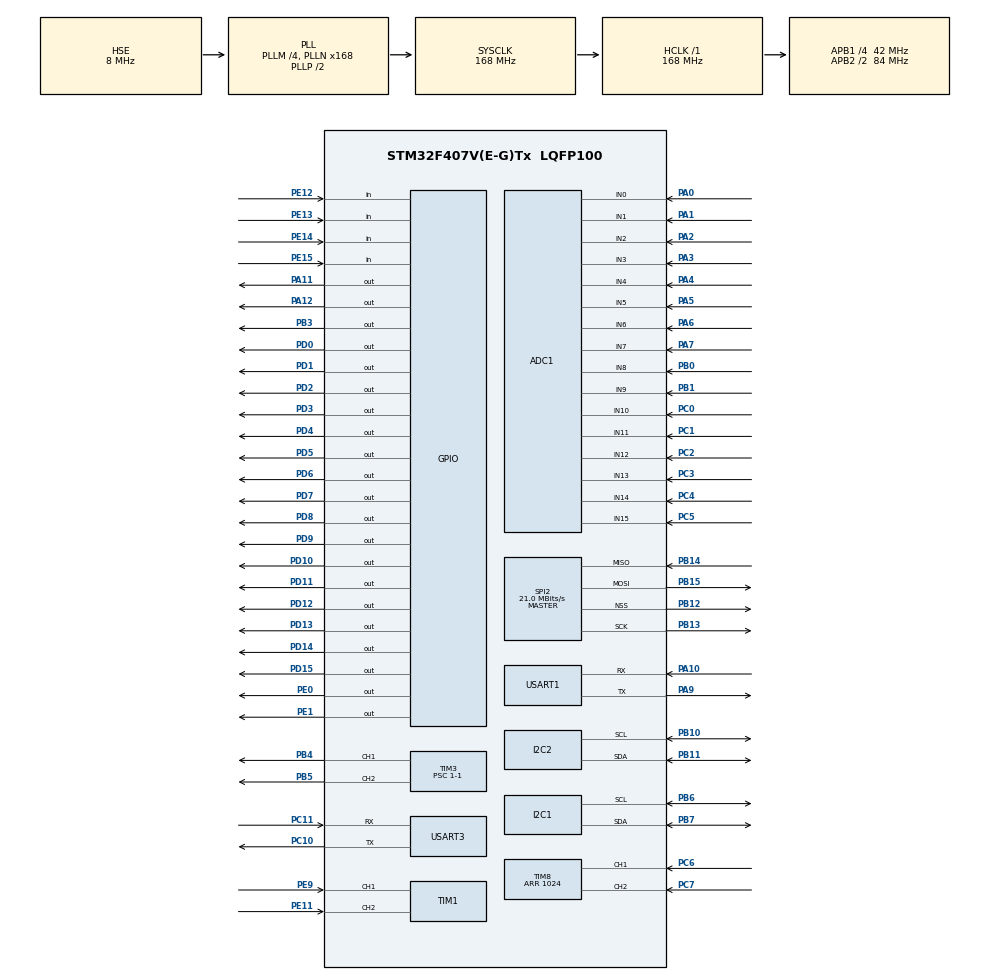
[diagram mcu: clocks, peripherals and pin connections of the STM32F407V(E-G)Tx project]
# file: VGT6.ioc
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ADC1.Channel-0\#ChannelRegularConversion=ADC_CHANNEL_0
ADC1.NbrOfConversionFlag=1
ADC1.Rank-0\#ChannelRegularConversion=1
ADC1.SamplingTime-0\#ChannelRegularConversion=ADC_SAMPLETIME_3CYCLES
ADC1.master=1
Mcu.Family=STM32F4
Mcu.Name=STM32F407V(E-G)Tx
Mcu.Package=LQFP100
NVIC.PriorityGroup=NVIC_PRIORITYGROUP_4
NVIC.TIM6_DAC_IRQn=true\:0\:0\:false\:false\:true\:true
NVIC.TIM7_IRQn=true\:0\:0\:false\:false\:true\:true
PA0-WKUP.Signal=ADCx_IN0
PA1.Signal=ADCx_IN1
PA10.Mode=Asynchronous
PA10.Signal=USART1_RX
PA11.Signal=GPIO_Output
PA12.Signal=GPIO_Output
PA2.Signal=ADCx_IN2
PA3.Signal=ADCx_IN3
PA4.Signal=ADCx_IN4
PA5.Signal=ADCx_IN5
PA6.Signal=ADCx_IN6
PA7.Signal=ADCx_IN7
PA9.Mode=Asynchronous
PA9.Signal=USART1_TX
PB0.Signal=ADCx_IN8
PB1.Signal=ADCx_IN9
PB10.Mode=I2C
PB10.Signal=I2C2_SCL
PB11.Mode=I2C
PB11.Signal=I2C2_SDA
PB12.Mode=NSS_Signal_Hard_Output
PB12.Signal=SPI2_NSS
PB13.Mode=Full_Duplex_Master
PB13.Signal=SPI2_SCK
PB14.Mode=Full_Duplex_Master
PB14.Signal=SPI2_MISO
PB15.Mode=Full_Duplex_Master
PB15.Signal=SPI2_MOSI
PB3.Signal=GPIO_Output
PB4.Signal=S_TIM3_CH1
PB5.Signal=S_TIM3_CH2
PB6.Mode=I2C
PB6.Signal=I2C1_SCL
PB7.Mode=I2C
PB7.Signal=I2C1_SDA
PC0.Signal=ADCx_IN10
PC1.Signal=ADCx_IN11
PC10.Mode=Asynchronous
PC10.Signal=USART3_TX
PC11.Mode=Asynchronous
PC11.Signal=USART3_RX
PC2.Signal=ADCx_IN12
PC3.Signal=ADCx_IN13
PC4.Signal=ADCx_IN14
PC5.Signal=ADCx_IN15
PC6.GPIO_PuPd=GPIO_NOPULL
PC6.GPIO_Speed=GPIO_SPEED_FREQ_LOW
PC6.Signal=S_TIM8_CH1
PC7.GPIO_PuPd=GPIO_NOPULL
PC7.GPIO_Speed=GPIO_SPEED_FREQ_LOW
PC7.Signal=S_TIM8_CH2
PD0.GPIO_PuPd=GPIO_NOPULL
PD0.GPIO_Speed=GPIO_SPEED_FREQ_VERY_HIGH
PD0.PinState=GPIO_PIN_SET
PD0.Signal=GPIO_Output
PD1.Signal=GPIO_Output
PD10.Signal=GPIO_Output
PD11.Signal=GPIO_Output
PD12.Signal=GPIO_Output
PD13.Signal=GPIO_Output
PD14.Signal=GPIO_Output
PD15.Signal=GPIO_Output
PD2.Signal=GPIO_Output
PD3.Signal=GPIO_Output
PD4.Signal=GPIO_Output
PD5.Signal=GPIO_Output
PD6.Signal=GPIO_Output
PD7.Signal=GPIO_Output
PD8.Signal=GPIO_Output
PD9.Signal=GPIO_Output
PE0.GPIO_Speed=GPIO_SPEED_FREQ_VERY_HIGH
PE0.PinState=GPIO_PIN_SET
PE0.Signal=GPIO_Output
PE1.GPIO_Speed=GPIO_SPEED_FREQ_VERY_HIGH
PE1.PinState=GPIO_PIN_SET
PE1.Signal=GPIO_Output
PE11.Signal=S_TIM1_CH2
PE12.Signal=GPIO_Input
PE13.Signal=GPIO_Input
PE14.Signal=GPIO_Input
PE15.Signal=GPIO_Input
PE9.Signal=S_TIM1_CH1
PH0-OSC_IN.Mode=HSE-External-Oscillator
PH0-OSC_IN.Signal=RCC_OSC_IN
PH1-OSC_OUT.Mode=HSE-External-Oscillator
PH1-OSC_OUT.Signal=RCC_OSC_OUT
ProjectManager.HeapSize=0x200
ProjectManager.StackSize=0x400
ProjectManager.TargetToolchain=TrueSTUDIO
RCC.48MHZClocksFreq_Value=84000000
RCC.AHBFreq_Value=168000000
RCC.APB1CLKDivider=RCC_HCLK_DIV4
RCC.APB1Freq_Value=42000000
RCC.APB1TimFreq_Value=84000000
RCC.APB2CLKDivider=RCC_HCLK_DIV2
RCC.APB2Freq_Value=84000000
RCC.APB2TimFreq_Value=168000000
RCC.CortexFreq_Value=168000000
RCC.HCLKFreq_Value=168000000
RCC.HSE_VALUE=8000000
RCC.HSI_VALUE=16000000
RCC.LSE_VALUE=32768
RCC.PLLM=4
RCC.PLLN=168
RCC.PLLSourceVirtual=RCC_PLLSOURCE_HSE
RCC.SYSCLKFreq_VALUE=168000000
RCC.SYSCLKSource=RCC_SYSCLKSOURCE_PLLCLK
RCC.VCOOutputFreq_Value=336000000
SH.ADCx_IN0.0=ADC1_IN0,IN0
SH.ADCx_IN1.0=ADC1_IN1,IN1
SH.ADCx_IN10.0=ADC1_IN10,IN10
SH.ADCx_IN11.0=ADC1_IN11,IN11
SH.ADCx_IN12.0=ADC1_IN12,IN12
SH.ADCx_IN13.0=ADC1_IN13,IN13
SH.ADCx_IN14.0=ADC1_IN14,IN14
SH.ADCx_IN15.0=ADC1_IN15,IN15
SH.ADCx_IN2.0=ADC1_IN2,IN2
SH.ADCx_IN3.0=ADC1_IN3,IN3
SH.ADCx_IN4.0=ADC1_IN4,IN4
SH.ADCx_IN5.0=ADC1_IN5,IN5
SH.ADCx_IN6.0=ADC1_IN6,IN6
SH.ADCx_IN7.0=ADC1_IN7,IN7
SH.ADCx_IN8.0=ADC1_IN8,IN8
SH.ADCx_IN9.0=ADC1_IN9,IN9
SH.S_TIM1_CH1.0=TIM1_CH1,Encoder_Interface
SH.S_TIM1_CH2.0=TIM1_CH2,Encoder_Interface
SH.S_TIM3_CH1.0=TIM3_CH1,PWM Generation1 CH1
SH.S_TIM3_CH2.0=TIM3_CH2,PWM Generation2 CH2
SH.S_TIM8_CH1.0=TIM8_CH1,Encoder_Interface
SH.S_TIM8_CH2.0=TIM8_CH2,Encoder_Interface
SPI2.CalculateBaudRate=21.0 MBits/s
SPI2.Direction=SPI_DIRECTION_2LINES
SPI2.Mode=SPI_MODE_MASTER
SPI2.VirtualNSS=VM_NSSHARD
SPI2.VirtualType=VM_MASTER
TIM3.Channel-PWM\ Generation1\ CH1=TIM_CHANNEL_1
TIM3.Channel-PWM\ Generation2\ CH2=TIM_CHANNEL_2
TIM3.Period=8400-1
TIM3.Prescaler=1-1
TIM3.Pulse-PWM\ Generation1\ CH1=4200-1
TIM3.Pulse-PWM\ Generation2\ CH2=6300-1
TIM6.Period=50-1
TIM6.Prescaler=42-1
TIM7.Period=1000-1
TIM7.Prescaler=42-1
TIM8.Period=1024
USART1.VirtualMode=VM_ASYNC
USART3.VirtualMode=VM_ASYNC
VP_TIM3_VS_ClockSourceINT.Mode=Internal
VP_TIM6_VS_ClockSourceINT.Mode=Enable_Timer
VP_TIM7_VS_ClockSourceINT.Mode=Enable_Timer
board=custom

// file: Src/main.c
/* USER CODE BEGIN Header */
/**
  ******************************************************************************
  * @file           : main.c
  * @brief          : Main program body
  ******************************************************************************
  ** This notice applies to any and all portions of this file
  * that are not between comment pairs USER CODE BEGIN and
  * USER CODE END. Other portions of this file, whether
  * inserted by the user or by software development tools
  * are owned by their respective copyright owners.
  *
  * COPYRIGHT(c) 2020 STMicroelectronics
  *
  * Redistribution and use in source and binary forms, with or without modification,
  * are permitted provided that the following conditions are met:
  *   1. Redistributions of source code must retain the above copyright notice,
  *      this list of conditions and the following disclaimer.
  *   2. Redistributions in binary form must reproduce the above copyright notice,
  *      this list of conditions and the following disclaimer in the documentation
  *      and/or other materials provided with the distribution.
  *   3. Neither the name of STMicroelectronics nor the names of its contributors
  *      may be used to endorse or promote products derived from this software
  *      without specific prior written permission.
  *
  * THIS SOFTWARE IS PROVIDED BY THE COPYRIGHT HOLDERS AND CONTRIBUTORS "AS IS"
  * AND ANY EXPRESS OR IMPLIED WARRANTIES, INCLUDING, BUT NOT LIMITED TO, THE
  * IMPLIED WARRANTIES OF MERCHANTABILITY AND FITNESS FOR A PARTICULAR PURPOSE ARE
  * DISCLAIMED. IN NO EVENT SHALL THE COPYRIGHT HOLDER OR CONTRIBUTORS BE LIABLE
  * FOR ANY DIRECT, INDIRECT, INCIDENTAL, SPECIAL, EXEMPLARY, OR CONSEQUENTIAL
  * DAMAGES (INCLUDING, BUT NOT LIMITED TO, PROCUREMENT OF SUBSTITUTE GOODS OR
  * SERVICES; LOSS OF USE, DATA, OR PROFITS; OR BUSINESS INTERRUPTION) HOWEVER
  * CAUSED AND ON ANY THEORY OF LIABILITY, WHETHER IN CONTRACT, STRICT LIABILITY,
  * OR TORT (INCLUDING NEGLIGENCE OR OTHERWISE) ARISING IN ANY WAY OUT OF THE USE
  * OF THIS SOFTWARE, EVEN IF ADVISED OF THE POSSIBILITY OF SUCH DAMAGE.
  *
  ******************************************************************************
  */
/* USER CODE END Header */
#include "main.h"
#include "adc.h"
#include "i2c.h"
#include "spi.h"
#include "tim.h"
#include "usart.h"
#include "gpio.h"

/* USER CODE BEGIN Includes */
#include "motor.h"

/* USER CODE END Includes */

/* USER CODE BEGIN PTD */
uint8_t rx4_data,
      rx3_data,
      rx2_data;
int8_t int8_tim7flag=1;
/* USER CODE END PTD */

void SystemClock_Config(void);
/* USER CODE BEGIN PFP */
int _write(int file, char* p,int len)
{
   HAL_UART_Transmit(&huart3,p,len,10);
   return len;
}
/* USER CODE END PFP */

int main(void)
{

  /* MCU Configuration--------------------------------------------------------*/

  /* Reset of all peripherals, Initializes the Flash interface and the Systick. */
  HAL_Init();

  /* Configure the system clock */
  SystemClock_Config();

  /* Initialize all configured peripherals */
  MX_GPIO_Init();
  MX_TIM3_Init();
  MX_ADC1_Init();
  MX_USART1_UART_Init();
  MX_I2C1_Init();
  MX_TIM7_Init();
  MX_TIM6_Init();
  MX_TIM8_Init();
  MX_USART3_UART_Init();
  MX_SPI2_Init();
  MX_I2C2_Init();
  MX_TIM1_Init();
  /* USER CODE BEGIN 2 */

  HAL_UART_Receive_IT(&huart3, &rx3_data,1);

  g_int32_sen_cnt = 0;
  HAL_TIM_PWM_Start(&htim3, TIM_CHANNEL_1);
  HAL_TIM_PWM_Start(&htim3, TIM_CHANNEL_2);
  HAL_TIM_Encoder_Start(&htim8,TIM_CHANNEL_1);
  //HAL_TIM_Base_Start_IT(&htim6);
  HAL_TIM_Base_Start_IT(&htim7);
  /* USER CODE END 2 */

  /* Infinite loop */
  /* USER CODE BEGIN WHILE */
  while (1)
  {
     HAL_UART_Receive_IT(&huart3, &rx3_data,1);
     printf("enc : %4d\n\r",R_Motor.U16Qep_Sample);
    // printf("%f",SEN0);
    /* USER CODE END WHILE */

  }
}

void SystemClock_Config(void)
{
  RCC_OscInitTypeDef RCC_OscInitStruct = {0};
  RCC_ClkInitTypeDef RCC_ClkInitStruct = {0};

  /** Configure the main internal regulator output voltage
  */
  __HAL_RCC_PWR_CLK_ENABLE();
  __HAL_PWR_VOLTAGESCALING_CONFIG(PWR_REGULATOR_VOLTAGE_SCALE1);
  /** Initializes the RCC Oscillators according to the specified parameters
  * in the RCC_OscInitTypeDef structure.
  */
  RCC_OscInitStruct.OscillatorType = RCC_OSCILLATORTYPE_HSE;
  RCC_OscInitStruct.HSEState = RCC_HSE_ON;
  RCC_OscInitStruct.PLL.PLLState = RCC_PLL_ON;
  RCC_OscInitStruct.PLL.PLLSource = RCC_PLLSOURCE_HSE;
  RCC_OscInitStruct.PLL.PLLM = 4;
  RCC_OscInitStruct.PLL.PLLN = 168;
  RCC_OscInitStruct.PLL.PLLP = RCC_PLLP_DIV2;
  RCC_OscInitStruct.PLL.PLLQ = 4;
  if (HAL_RCC_OscConfig(&RCC_OscInitStruct) != HAL_OK)
  {
    Error_Handler();
  }
  /** Initializes the CPU, AHB and APB buses clocks
  */
  RCC_ClkInitStruct.ClockType = RCC_CLOCKTYPE_HCLK|RCC_CLOCKTYPE_SYSCLK
                              |RCC_CLOCKTYPE_PCLK1|RCC_CLOCKTYPE_PCLK2;
  RCC_ClkInitStruct.SYSCLKSource = RCC_SYSCLKSOURCE_PLLCLK;
  RCC_ClkInitStruct.AHBCLKDivider = RCC_SYSCLK_DIV1;
  RCC_ClkInitStruct.APB1CLKDivider = RCC_HCLK_DIV4;
  RCC_ClkInitStruct.APB2CLKDivider = RCC_HCLK_DIV2;

  if (HAL_RCC_ClockConfig(&RCC_ClkInitStruct, FLASH_LATENCY_5) != HAL_OK)
  {
    Error_Handler();
  }
}

/* USER CODE BEGIN 4 */
void HAL_UART_RxCpltCallback(UART_HandleTypeDef *huart)
{
   char receiver = 0;

   if(huart->Instance == USART3)
   {
//         switch(rx3_data)
//         {
//
//         }
         HAL_UART_Transmit(&huart3, &rx3_data, 1, 10);

         //rx3_data=NULL;
         HAL_UART_Receive_IT(&huart3, &rx3_data,1);

   }

}
/* USER CODE END 4 */

void Error_Handler(void)
{
}

/************************ (C) COPYRIGHT STMicroelectronics *****END OF FILE****/
